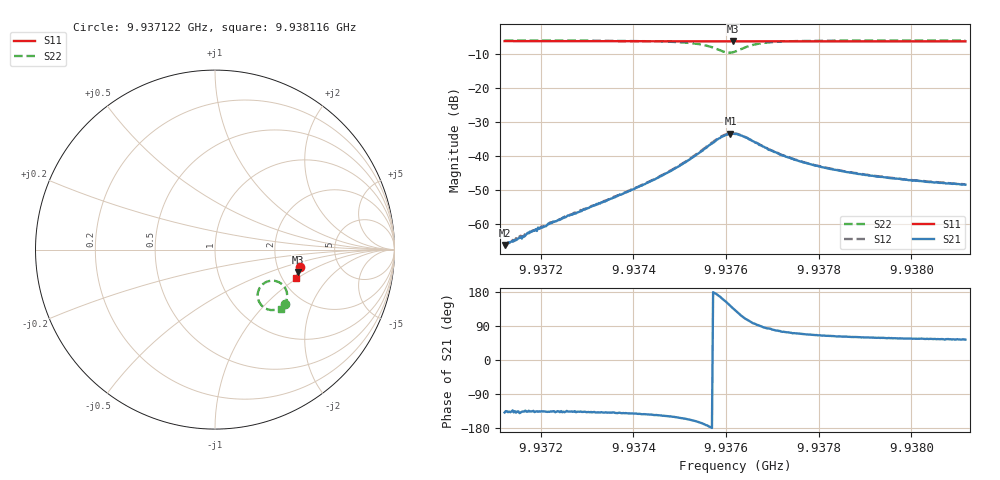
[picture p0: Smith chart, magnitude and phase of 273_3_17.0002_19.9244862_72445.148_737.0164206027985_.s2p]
#  HZ  S  RI  R  50.00
! Rohde & Schwarz Vector Network Analyzer
! Rohde-Schwarz,ZNB20-2Port,1311601062101988,3.16
! Created: UTC 3/20/2024, 11:04:17 PM
! freq[Hz]  re:S11  im:S11  re:S21  im:S21  re:S12  im:S12  re:S22  im:S22
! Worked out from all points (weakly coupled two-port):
!   401 points, 9.937122 GHz to 9.938116 GHz, reference 50 ohm
!   highest |S21| = -33.51 dB at 9.937609 GHz (marker M1); lowest = -66.2 dB at 9.937122 GHz (marker M2)
!   lowest |S11| = -6.4 dB at 9.937614 GHz (marker M3), VSWR 2.84, Z = 126 - j41.5 ohm
!   |S11| at or under -10 dB: nowhere
!   |S22| runs from -9.7 to -6.1 dB; largest |S21 - S12| = 0.00092
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9.937122e9  0.4747 -0.0955  -0.000365 -0.000323  -0.000394 -0.000286  0.3915 -0.3031
9.9371618e9  0.4739 -0.0982  -0.000472 -0.000455  -0.000459 -0.000469  0.3886 -0.3061
9.9371742e9  0.4738 -0.099  -0.000503 -0.000522  -0.000546 -0.000505  0.3876 -0.3072
9.9371867e9  0.4735 -0.0999  -0.000584 -0.000538  -0.000567 -0.000553  0.3866 -0.3079
9.9372215e9  0.473 -0.1023  -0.000731 -0.000715  -0.000766 -0.000726  0.3836 -0.3108
9.9372886e9  0.4716 -0.1067  -0.00113 -0.00105  -0.00117 -0.00106  0.3766 -0.3164
9.937388e9  0.4693 -0.1135  -0.00229 -0.00187  -0.00238 -0.00189  0.3617 -0.3264
9.9374552e9  0.4679 -0.1182  -0.00401 -0.00272  -0.00412 -0.00271  0.344 -0.3338
9.9375123e9  0.4662 -0.122  -0.00726 -0.00339  -0.0075 -0.00333  0.3138 -0.3369
9.9375521e9  0.4649 -0.1247  -0.0123 -0.00233  -0.0126 -0.00212  0.2741 -0.3234
9.9375869e9  0.4633 -0.1261  -0.0177 0.00402  -0.0182 0.00483  0.2382 -0.2628
9.9375993e9  0.463 -0.1264  -0.0182 0.00887  -0.0182 0.00946  0.2431 -0.226
9.9376093e9  0.4628 -0.1266  -0.0168 0.0128  -0.0166 0.0134  0.2604 -0.1984
9.9376143e9  0.4627 -0.1266  -0.0154 0.0144  -0.0153 0.0152  0.2729 -0.1877
9.9376192e9  0.4628 -0.1269  -0.0138 0.0157  -0.0135 0.0164  0.2874 -0.1796
9.9376466e9  0.4632 -0.1282  -0.0048 0.0175  -0.0043 0.0176  0.3599 -0.1835
9.9376714e9  0.4632 -0.13  -0.000167 0.0144  0.000184 0.0148  0.3906 -0.2135
9.9377212e9  0.4625 -0.1338  0.00273 0.00973  0.0028 0.00985  0.4022 -0.2572
9.9377858e9  0.4612 -0.1384  0.00295 0.00679  0.00309 0.00678  0.3974 -0.2851
9.9378604e9  0.4593 -0.1434  0.00273 0.00506  0.0029 0.0051  0.3897 -0.3015
9.9379524e9  0.457 -0.1495  0.0025 0.00399  0.0026 0.00401  0.3816 -0.314
9.9381164e9  0.4528 -0.1602  0.00222 0.00303  0.0023 0.00303  0.3695 -0.3285
